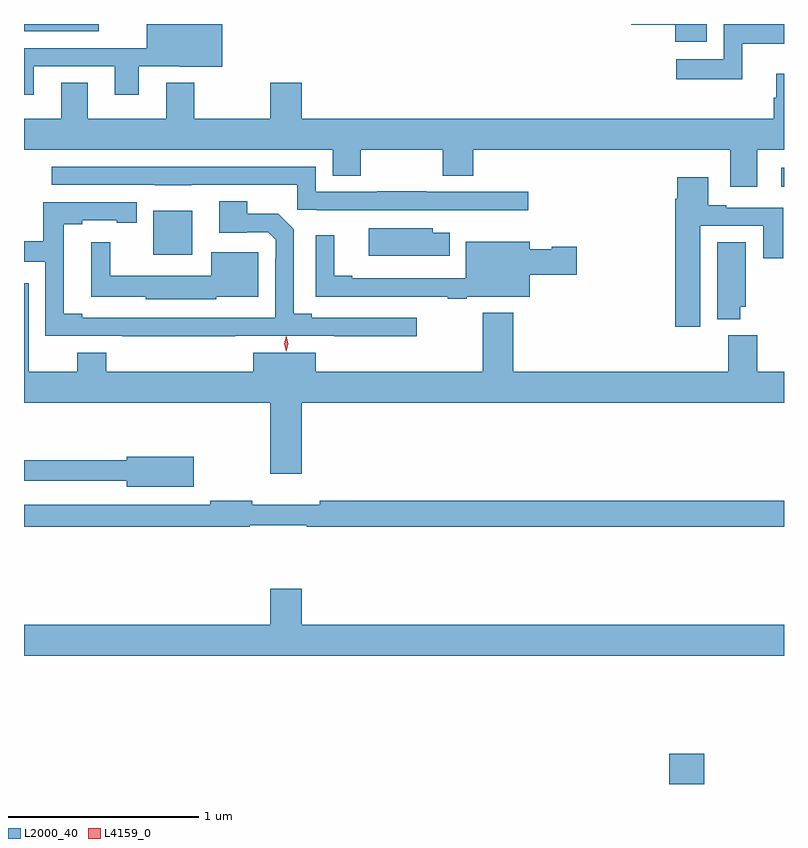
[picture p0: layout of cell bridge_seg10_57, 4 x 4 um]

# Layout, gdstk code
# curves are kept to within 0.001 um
import gdstk
lib = gdstk.Library(unit=1e-6, precision=1e-09)
def R(c, l, rs):  # rectangles x0, y0, x1, y1
    for r in rs: c.add(gdstk.rectangle(r[:2], r[2:], *l))
def P(c, l, *ps):  # polygons
    for p in ps: c.add(gdstk.Polygon(p, *l))
L2000_40 = (2000, 40)
L4159_0 = (4159, 0)

bridge_seg10_57 = lib.new_cell('bridge_seg10_57')
R(bridge_seg10_57, L2000_40, [(850.424,1284.99,850.607,1285.15), (847.706,1287.776,847.912,1288.006), (851.013,1288.133,851.027,1288.234), (847.027,1288.953,847.42,1288.99)])
P(bridge_seg10_57, L2000_40, [(850.621,1288.99),(850.224,1288.99),(850.224,1288.985),(850.454,1288.985),(850.454,1288.896),(850.621,1288.896)],
  [(847.078,1288.767),(847.505,1288.767),(847.505,1288.617),(847.63,1288.617),(847.63,1288.767),(847.847,1288.767),(847.847,1288.766),(848.071,1288.766),(848.071,1288.99),(847.673,1288.99),(847.673,1288.863),(847.027,1288.863),(847.027,1288.617),(847.078,1288.617)],
  [(850.807,1288.886),(851.027,1288.886),(851.027,1288.99),(850.71,1288.99),(850.71,1288.804),(850.461,1288.804),(850.461,1288.7),(850.807,1288.7)],
  [(850.885,1288.328),(851.027,1288.328),(851.027,1288.729),(850.985,1288.729),(850.985,1288.602),(850.973,1288.602),(850.973,1288.492),(848.488,1288.492),(848.488,1288.681),(848.324,1288.681),(848.324,1288.492),(847.923,1288.492),(847.923,1288.681),(847.775,1288.681),(847.775,1288.492),(847.363,1288.492),(847.363,1288.682),(847.223,1288.682),(847.223,1288.492),(847.027,1288.492),(847.027,1288.328),(848.651,1288.328),(848.651,1288.192),(848.799,1288.192),(848.799,1288.328),(849.232,1288.328),(849.232,1288.192),(849.392,1288.192),(849.392,1288.328),(850.745,1288.328),(850.745,1288.134),(850.885,1288.134)],
  [(848.753,1288.011),(849.357,1288.011),(849.357,1288.01),(849.682,1288.01),(849.682,1288.107),(849.143,1288.107),(849.143,1288.11),(848.887,1288.11),(848.887,1288.107),(848.562,1288.107),(848.562,1288.239),(847.173,1288.239),(847.173,1288.143),(847.714,1288.143),(847.714,1288.142),(847.908,1288.142),(847.908,1288.143),(848.465,1288.143),(848.465,1288.012),(848.569,1288.012),(848.569,1288.01),(848.753,1288.01)],
  [(850.585,1287.927),(850.919,1287.927),(850.919,1287.756),(851.023,1287.756),(851.023,1288.023),(850.723,1288.023),(850.723,1288.036),(850.627,1288.036),(850.627,1288.183),(850.466,1288.183),(850.466,1288.07),(850.454,1288.07),(850.454,1287.396),(850.585,1287.396)],
  [(848.138,1287.348),(849.094,1287.347),(849.094,1287.444),(848.542,1287.444),(848.542,1287.464),(848.446,1287.464),(848.446,1287.911),(848.366,1287.991),(848.203,1287.991),(848.203,1288.058),(848.055,1288.058),(848.055,1287.891),(848.199,1287.891),(848.199,1287.894),(848.313,1287.894),(848.352,1287.855),(848.352,1287.755),(848.349,1287.755),(848.349,1287.444),(847.333,1287.444),(847.333,1287.464),(847.237,1287.464),(847.237,1287.937),(847.333,1287.937),(847.333,1287.957),(847.514,1287.957),(847.514,1287.945),(847.621,1287.945),(847.621,1288.053),(847.128,1288.053),(847.128,1287.847),(847.027,1287.847),(847.027,1287.74),(847.14,1287.74),(847.14,1287.348)],
  [(849.268,1287.892),(849.177,1287.892),(849.177,1287.916),(848.841,1287.916),(848.841,1287.77),(849.268,1287.77)],
  [(849.357,1287.555),(849.457,1287.555),(849.457,1287.554),(849.688,1287.554),(849.688,1287.671),(849.937,1287.671),(849.937,1287.818),(849.804,1287.818),(849.804,1287.805),(849.688,1287.805),(849.688,1287.844),(849.353,1287.844),(849.353,1287.651),(848.755,1287.651),(848.755,1287.664),(848.66,1287.664),(848.66,1287.877),(848.562,1287.877),(848.562,1287.555),(849.257,1287.555),(849.257,1287.543),(849.357,1287.543)],
  [(850.798,1287.501),(850.825,1287.501),(850.825,1287.842),(850.676,1287.842),(850.676,1287.437),(850.798,1287.437)],
  [(848.04,1287.554),(848.26,1287.554),(848.26,1287.79),(848.012,1287.79),(848.012,1287.664),(847.481,1287.664),(847.481,1287.841),(847.382,1287.841),(847.382,1287.555),(847.668,1287.555),(847.668,1287.542),(848.04,1287.542)],
  [(848.488,1286.996),(851.027,1286.996),(851.027,1287.16),(850.885,1287.16),(850.885,1287.352),(850.733,1287.352),(850.733,1287.16),(849.602,1287.16),(849.602,1287.469),(849.442,1287.469),(849.442,1287.16),(848.563,1287.16),(848.563,1287.259),(848.234,1287.259),(848.234,1287.16),(847.46,1287.16),(847.46,1287.259),(847.307,1287.259),(847.307,1287.16),(847.051,1287.16),(847.051,1287.625),(847.027,1287.625),(847.027,1286.996),(848.324,1286.996),(848.324,1286.622),(848.488,1286.622)],
  [(847.921,1286.713),(847.568,1286.713),(847.568,1286.695),(847.027,1286.695),(847.027,1286.586),(847.568,1286.586),(847.568,1286.555),(847.921,1286.555)],
  [(848.216,1286.352),(848.516,1286.352),(848.516,1286.344),(851.027,1286.344),(851.027,1286.48),(848.584,1286.48),(848.584,1286.461),(848.228,1286.461),(848.228,1286.48),(848.008,1286.48),(848.008,1286.46),(847.027,1286.46),(847.027,1286.344),(848.216,1286.344)],
  [(851.027,1285.828),(848.488,1285.828),(848.488,1286.017),(848.324,1286.017),(848.324,1285.828),(847.027,1285.828),(847.027,1285.664),(851.027,1285.664)])
P(bridge_seg10_57, L4159_0, [(848.407,1287.266),(848.407,1287.266),(848.397,1287.306),(848.407,1287.346),(848.407,1287.347),(848.407,1287.346),(848.417,1287.306),(848.407,1287.266)])

lib.write_gds('bridge_seg10_57.gds')
